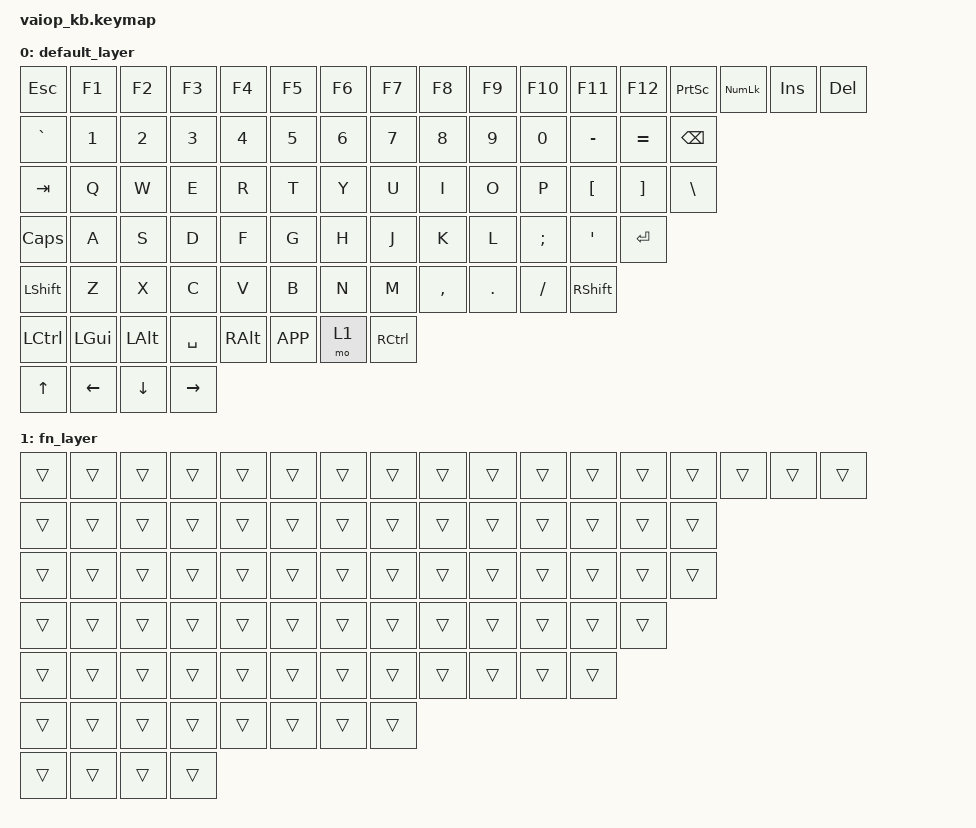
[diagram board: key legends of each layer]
#include <behaviors.dtsi>
#include <dt-bindings/zmk/keys.h>

/ {
    keymap {
        compatible = "zmk,keymap";

        default_layer {
            bindings = <
    /* ESC     F1       F2       F3       F4       F5       F6       F7       F8       F9       F10      F11      F12      PRNSCR   NUMLK    INS      DEL  */
    &kp ESC  &kp F1  &kp F2  &kp F3  &kp F4  &kp F5  &kp F6  &kp F7  &kp F8  &kp F9  &kp F10  &kp F11  &kp F12  &kp PSCRN  &kp KP_NUM  &kp INS  &kp DEL
    /* `~      1        2        3        4        5        6        7        8        9        0        -        =        BSPC */
    &kp GRAVE  &kp N1  &kp N2  &kp N3  &kp N4  &kp N5  &kp N6  &kp N7  &kp N8  &kp N9  &kp N0  &kp MINUS  &kp EQUAL  &kp BSPC
    /* TAB     Q        W        E        R        T        Y        U        I        O        P        [        ]        \   */
    &kp TAB  &kp Q  &kp W  &kp E  &kp R  &kp T  &kp Y  &kp U  &kp I  &kp O  &kp P  &kp LBKT  &kp RBKT  &kp BSLH
    /* CAPS    A        S        D        F        G        H        J        K        L        ;        '        ENTER */
    &kp CLCK  &kp A  &kp S  &kp D  &kp F  &kp G  &kp H  &kp J  &kp K  &kp L  &kp SEMI  &kp SQT  &kp RET
    /* LSHFT   Z        X        C        V        B        N        M        ,        .        /        RSHFT */
    &kp LSHFT  &kp Z  &kp X  &kp C  &kp V  &kp B  &kp N  &kp M  &kp COMMA  &kp DOT  &kp FSLH  &kp RSHFT
    /* LCTRL   GUI      LALT     SPACE    RALT     MENU     FN       RCTRL */
    &kp LCTRL  &kp LGUI  &kp LALT  &kp SPACE  &kp RALT  &kp K_APP  &mo 1  &kp RCTRL
    /* UP      LEFT     DOWN     RIGHT */
    &kp UP  &kp LEFT  &kp DOWN  &kp RIGHT
            >;
        };

        fn_layer {
            bindings = <
    /* FNレイヤー（とりあえずトランスペアレント） */
    &trans  &trans  &trans  &trans  &trans  &trans  &trans  &trans  &trans  &trans  &trans  &trans  &trans  &trans  &trans  &trans  &trans
    &trans  &trans  &trans  &trans  &trans  &trans  &trans  &trans  &trans  &trans  &trans  &trans  &trans  &trans
    &trans  &trans  &trans  &trans  &trans  &trans  &trans  &trans  &trans  &trans  &trans  &trans  &trans  &trans
    &trans  &trans  &trans  &trans  &trans  &trans  &trans  &trans  &trans  &trans  &trans  &trans  &trans
    &trans  &trans  &trans  &trans  &trans  &trans  &trans  &trans  &trans  &trans  &trans  &trans
    &trans  &trans  &trans  &trans  &trans  &trans  &trans  &trans
    &trans  &trans  &trans  &trans
            >;
        };
    };
};
